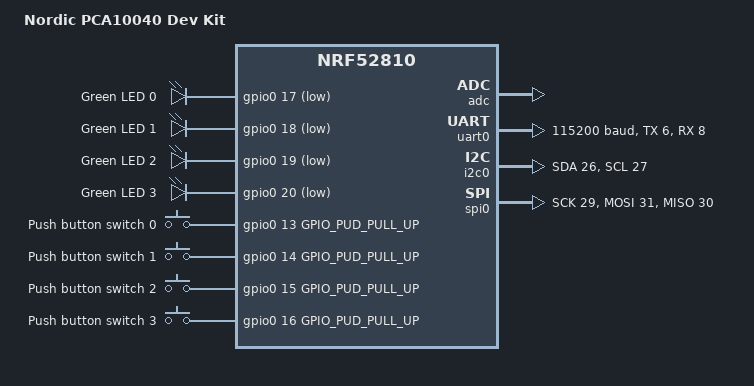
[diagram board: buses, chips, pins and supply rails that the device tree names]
/*
 * Copyright (c) 2018 Nordic Semiconductor ASA
 * Copyright (c) 2017 Shawn Nock <shawn@monadnock.ca>
 * Copyright (c) 2017 Linaro Limited
 *
 * SPDX-License-Identifier: Apache-2.0
 */

/dts-v1/;
#include <nordic/nrf52810_qfaa.dtsi>

/ {
	model = "Nordic PCA10040 Dev Kit";
	compatible = "nordic,pca10040-dk", "nordic,nrf52810-qfaa",
		     "nordic,nrf52810";

	chosen {
		zephyr,console = &uart0;
#ifdef CONFIG_MCUMGR_SMP_UART
		zephyr,uart-mcumgr = &uart0;
#endif
		zephyr,sram = &sram0;
		zephyr,flash = &flash0;
	};

	leds {
		compatible = "gpio-leds";
		led0: led@0 {
			gpios = <&gpio0 17 GPIO_INT_ACTIVE_LOW>;
			label = "Green LED 0";
		};
		led1: led@1 {
			gpios = <&gpio0 18 GPIO_INT_ACTIVE_LOW>;
			label = "Green LED 1";
		};
		led2: led@2 {
			gpios = <&gpio0 19 GPIO_INT_ACTIVE_LOW>;
			label = "Green LED 2";
		};
		led3: led@3 {
			gpios = <&gpio0 20 GPIO_INT_ACTIVE_LOW>;
			label = "Green LED 3";
		};
	};

	gpio_keys {
		compatible = "gpio-keys";
		button0: button@0 {
			label = "Push button switch 0";
			gpios = <&gpio0 13 GPIO_PUD_PULL_UP>;
		};
		button1: button@1 {
			label = "Push button switch 1";
			gpios = <&gpio0 14 GPIO_PUD_PULL_UP>;
		};
		button2: button@2 {
			label = "Push button switch 2";
			gpios = <&gpio0 15 GPIO_PUD_PULL_UP>;
		};
		button3: button@3 {
			label = "Push button switch 3";
			gpios = <&gpio0 16 GPIO_PUD_PULL_UP>;
		};
	};

	/* These aliases are provided for compatibility with samples */
	aliases {
		led0 = &led0;
		led1 = &led1;
		led2 = &led2;
		led3 = &led3;
		sw0 = &button0;
		sw1 = &button1;
		sw2 = &button2;
		sw3 = &button3;
	};
};

&adc {
	status = "ok";
};

&gpiote {
	status ="ok";
};

&gpio0 {
	status ="ok";
};

&uart0 {
	status = "ok";
	current-speed = <115200>;
	tx-pin = <6>;
	rx-pin = <8>;
	rts-pin = <5>;
	cts-pin = <7>;
};

&i2c0 {
	status = "ok";
	sda-pin = <26>;
	scl-pin = <27>;
};

&spi0 {
	status = "ok";
	sck-pin = <29>;
	mosi-pin = <31>;
	miso-pin = <30>;
};

&flash0 {
	/*
	 * For more information, see:
	 * http://docs.zephyrproject.org/latest/devices/dts/flash_partitions.html
	 */
	partitions {
		compatible = "fixed-partitions";
		#address-cells = <1>;
		#size-cells = <1>;

		boot_partition: partition@0 {
			label = "mcuboot";
			reg = <0x00000000 0xc000>;
		};
		slot0_partition: partition@c000 {
			label = "image-0";
			reg = <0x0000C000 0xd000>;
		};
		slot1_partition: partition@19000 {
			label = "image-1";
			reg = <0x00019000 0xd000>;
		};
		scratch_partition: partition@26000 {
			label = "image-scratch";
			reg = <0x00026000 0x3000>;
		};

#if defined(CONFIG_FS_FLASH_STORAGE_PARTITION)
		storage_partition: partition@29000 {
			label = "storage";
			reg = <0x00029000 0x00007000>;
		};
#endif
	};
};
